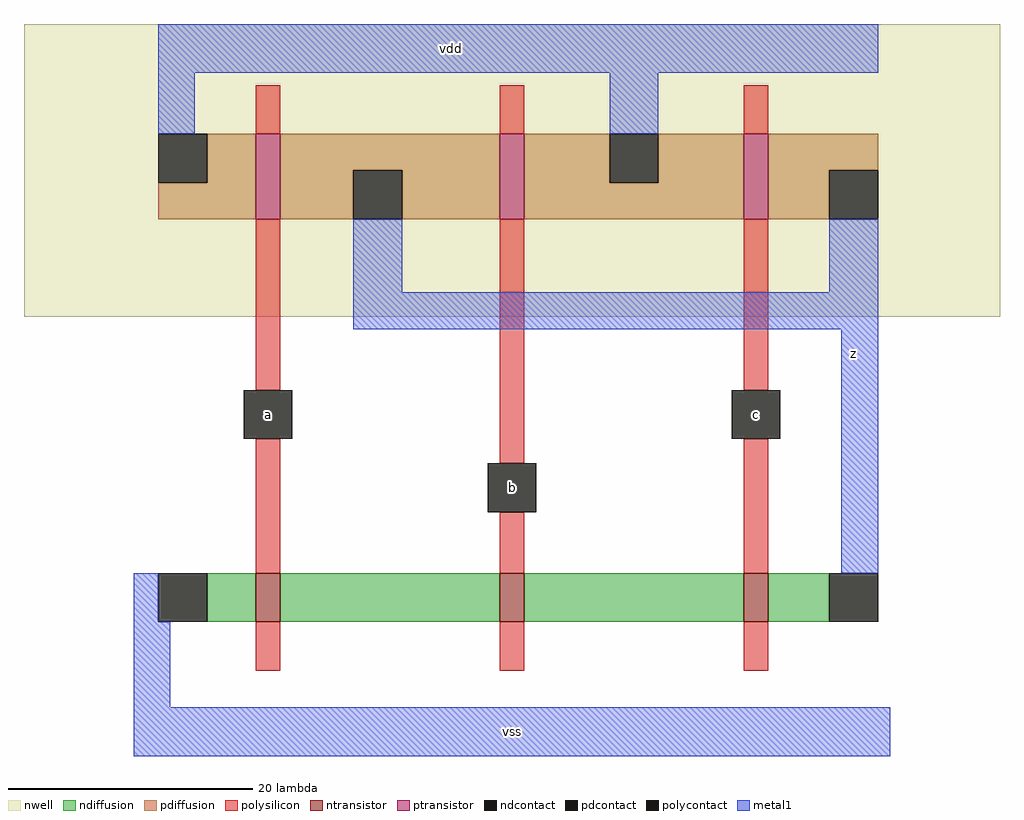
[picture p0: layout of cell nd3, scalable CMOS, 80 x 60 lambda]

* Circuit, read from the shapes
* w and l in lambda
.subckt nd3 a b c vdd vss z
M1 n1 a vss VSUBS nfet w=4 l=2
M2 n2 b n1 VSUBS nfet w=4 l=2
M3 z c n2 VSUBS nfet w=4 l=2
M4 z a vdd n3 pfet w=7 l=2
M5 vdd b z n3 pfet w=7 l=2
M6 z c vdd n3 pfet w=7 l=2
.ends

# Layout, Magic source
magic
tech scmos
<< nwell >>
rect -37 -8 43 16
<< polysilicon >>
rect -18 7 -16 11
rect 2 7 4 11
rect 22 7 24 11
rect -18 -14 -16 0
rect -18 -29 -16 -18
rect 2 -20 4 0
rect 22 -14 24 0
rect 2 -29 4 -24
rect 22 -29 24 -18
rect -18 -37 -16 -33
rect 2 -37 4 -33
rect 22 -37 24 -33
<< ndiffusion >>
rect -22 -33 -18 -29
rect -16 -33 2 -29
rect 4 -33 22 -29
rect 24 -33 29 -29
<< pdiffusion >>
rect -22 3 -18 7
rect -26 0 -18 3
rect -16 4 2 7
rect -16 0 -10 4
rect -6 0 2 4
rect 4 3 11 7
rect 15 3 22 7
rect 4 0 22 3
rect 24 4 33 7
rect 24 0 29 4
<< metal1 >>
rect -26 12 33 16
rect -26 7 -23 12
rect 11 7 15 12
rect -10 -6 -6 0
rect 29 -6 33 0
rect -10 -9 33 -6
rect 30 -29 33 -9
rect -28 -33 -26 -29
rect -28 -40 -25 -33
rect -28 -44 34 -40
<< ntransistor >>
rect -18 -33 -16 -29
rect 2 -33 4 -29
rect 22 -33 24 -29
<< ptransistor >>
rect -18 0 -16 7
rect 2 0 4 7
rect 22 0 24 7
<< polycontact >>
rect -19 -18 -15 -14
rect 21 -18 25 -14
rect 1 -24 5 -20
<< ndcontact >>
rect -26 -33 -22 -29
rect 29 -33 33 -29
<< pdcontact >>
rect -26 3 -22 7
rect -10 0 -6 4
rect 11 3 15 7
rect 29 0 33 4
<< labels >>
rlabel polycontact -17 -16 -17 -16 1 a
rlabel polycontact 23 -16 23 -16 1 c
rlabel metal1 -2 14 -2 14 5 vdd
rlabel polycontact 3 -22 3 -22 1 b
rlabel metal1 31 -11 31 -11 1 z
rlabel metal1 3 -42 3 -42 1 vss
<< end >>
